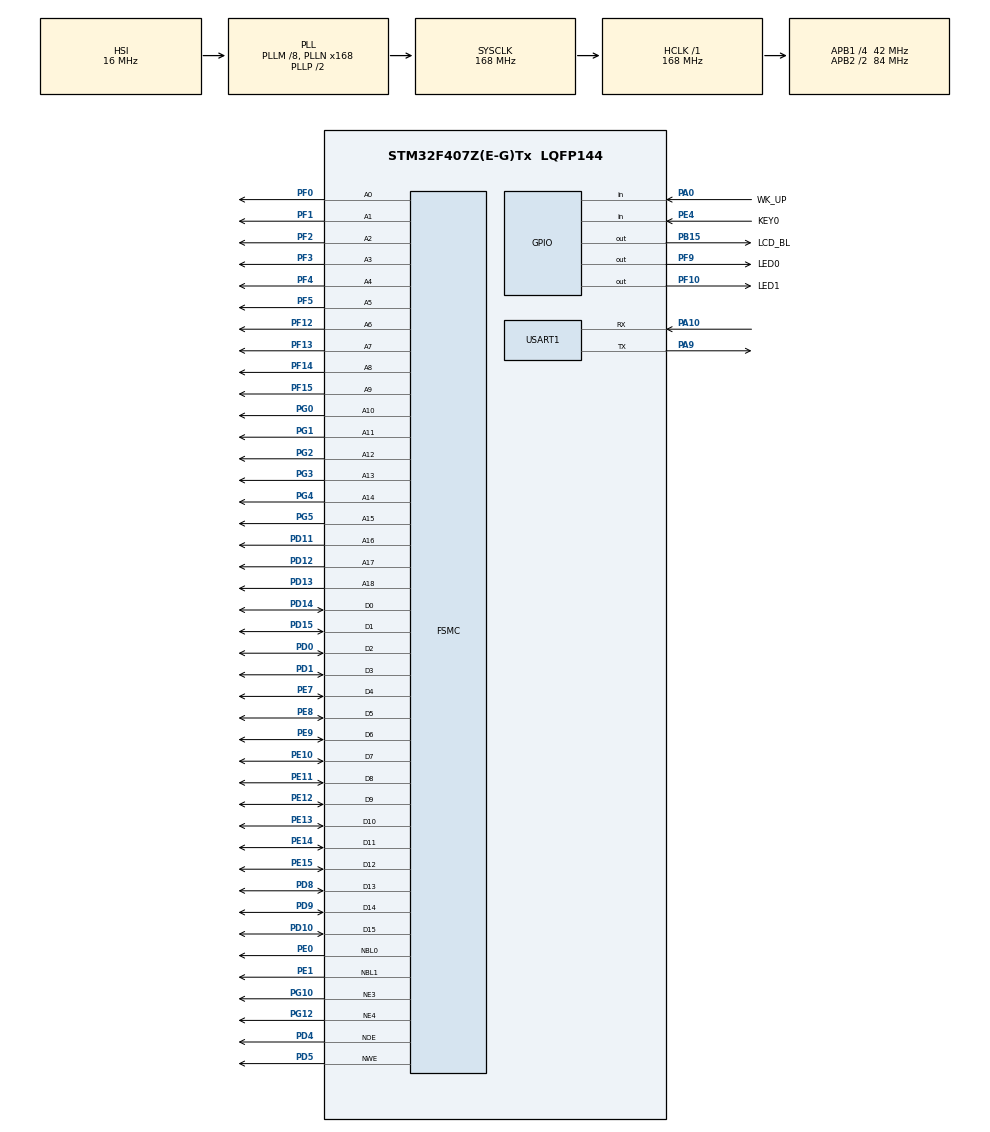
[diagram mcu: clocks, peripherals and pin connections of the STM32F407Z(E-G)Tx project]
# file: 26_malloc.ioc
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FSMC.AddressSetupTime1=15
FSMC.AddressSetupTime2=0x02
FSMC.BusTurnAroundDuration1=0
FSMC.DataSetupTime1=60
FSMC.DataSetupTime2=0x08
FSMC.ExtendedAddressSetupTime1=9
FSMC.ExtendedBusTurnAroundDuration1=0
FSMC.ExtendedDataSetupTime1=9
FSMC.ExtendedMode1=FSMC_EXTENDED_MODE_ENABLE
FSMC.WriteOperation2=FSMC_WRITE_OPERATION_ENABLE
Mcu.Family=STM32F4
Mcu.Name=STM32F407Z(E-G)Tx
Mcu.Package=LQFP144
NVIC.PriorityGroup=NVIC_PRIORITYGROUP_2
NVIC.USART1_IRQn=true\:2\:2\:true\:false\:true\:true\:true\:true
PA0-WKUP.GPIO_Label=WK_UP
PA0-WKUP.GPIO_PuPd=GPIO_PULLDOWN
PA0-WKUP.Signal=GPIO_Input
PA10.GPIO_PuPd=GPIO_PULLUP
PA10.Mode=Asynchronous
PA10.Signal=USART1_RX
PA13.Mode=Serial_Wire
PA13.Signal=SYS_JTMS-SWDIO
PA14.Mode=Serial_Wire
PA14.Signal=SYS_JTCK-SWCLK
PA9.GPIO_PuPd=GPIO_PULLUP
PA9.Mode=Asynchronous
PA9.Signal=USART1_TX
PB15.GPIO_Label=LCD_BL
PB15.GPIO_PuPd=GPIO_PULLUP
PB15.GPIO_Speed=GPIO_SPEED_FREQ_VERY_HIGH
PB15.PinState=GPIO_PIN_SET
PB15.Signal=GPIO_Output
PC14-OSC32_IN.Mode=LSE-External-Oscillator
PC14-OSC32_IN.Signal=RCC_OSC32_IN
PC15-OSC32_OUT.Mode=LSE-External-Oscillator
PC15-OSC32_OUT.Signal=RCC_OSC32_OUT
PD0.Signal=FSMC_D2_DA2
PD1.Signal=FSMC_D3_DA3
PD10.Signal=FSMC_D15_DA15
PD11.Signal=FSMC_A16_CLE
PD12.Signal=FSMC_A17_ALE
PD13.Signal=FSMC_A18
PD14.Signal=FSMC_D0_DA0
PD15.Signal=FSMC_D1_DA1
PD4.Signal=FSMC_NOE
PD5.Signal=FSMC_NWE
PD8.Signal=FSMC_D13_DA13
PD9.Signal=FSMC_D14_DA14
PE0.Signal=FSMC_NBL0
PE1.Signal=FSMC_NBL1
PE10.Signal=FSMC_D7_DA7
PE11.Signal=FSMC_D8_DA8
PE12.Signal=FSMC_D9_DA9
PE13.Signal=FSMC_D10_DA10
PE14.Signal=FSMC_D11_DA11
PE15.Signal=FSMC_D12_DA12
PE4.GPIO_Label=KEY0
PE4.GPIO_PuPd=GPIO_PULLDOWN
PE4.Signal=GPIO_Input
PE7.Signal=FSMC_D4_DA4
PE8.Signal=FSMC_D5_DA5
PE9.Signal=FSMC_D6_DA6
PF0.Signal=FSMC_A0
PF1.Signal=FSMC_A1
PF10.GPIO_Label=LED1
PF10.GPIO_PuPd=GPIO_PULLDOWN
PF10.GPIO_Speed=GPIO_SPEED_FREQ_VERY_HIGH
PF10.PinState=GPIO_PIN_SET
PF10.Signal=GPIO_Output
PF12.Signal=FSMC_A6
PF13.Signal=FSMC_A7
PF14.Signal=FSMC_A8
PF15.Signal=FSMC_A9
PF2.Signal=FSMC_A2
PF3.Signal=FSMC_A3
PF4.Signal=FSMC_A4
PF5.Signal=FSMC_A5
PF9.GPIO_Label=LED0
PF9.GPIO_PuPd=GPIO_PULLDOWN
PF9.GPIO_Speed=GPIO_SPEED_FREQ_VERY_HIGH
PF9.PinState=GPIO_PIN_SET
PF9.Signal=GPIO_Output
PG0.Signal=FSMC_A10
PG1.Signal=FSMC_A11
PG10.Mode=NorPsramChipSelect3_2
PG10.Signal=FSMC_NE3
PG12.Mode=NorPsramChipSelect4_1
PG12.Signal=FSMC_NE4
PG2.Signal=FSMC_A12
PG3.Signal=FSMC_A13
PG4.Signal=FSMC_A14
PG5.Signal=FSMC_A15
PH0-OSC_IN.Mode=HSE-External-Oscillator
PH0-OSC_IN.Signal=RCC_OSC_IN
PH1-OSC_OUT.Mode=HSE-External-Oscillator
PH1-OSC_OUT.Signal=RCC_OSC_OUT
ProjectManager.HeapSize=0x200
ProjectManager.StackSize=0x400
ProjectManager.TargetToolchain=STM32CubeIDE
RCC.48MHZClocksFreq_Value=84000000
RCC.AHBFreq_Value=168000000
RCC.APB1CLKDivider=RCC_HCLK_DIV4
RCC.APB1Freq_Value=42000000
RCC.APB1TimFreq_Value=84000000
RCC.APB2CLKDivider=RCC_HCLK_DIV2
RCC.APB2Freq_Value=84000000
RCC.APB2TimFreq_Value=168000000
RCC.CortexFreq_Value=168000000
RCC.HCLKFreq_Value=168000000
RCC.HSE_VALUE=25000000
RCC.HSI_VALUE=16000000
RCC.PLLM=8
RCC.PLLN=168
RCC.SYSCLKFreq_VALUE=168000000
RCC.SYSCLKSource=RCC_SYSCLKSOURCE_PLLCLK
RCC.VCOOutputFreq_Value=336000000
SH.FSMC_A0.0=FSMC_A0,19b-a2
SH.FSMC_A1.0=FSMC_A1,19b-a2
SH.FSMC_A10.0=FSMC_A10,19b-a2
SH.FSMC_A11.0=FSMC_A11,19b-a2
SH.FSMC_A12.0=FSMC_A12,19b-a2
SH.FSMC_A13.0=FSMC_A13,19b-a2
SH.FSMC_A14.0=FSMC_A14,19b-a2
SH.FSMC_A15.0=FSMC_A15,19b-a2
SH.FSMC_A16_CLE.0=FSMC_A16,19b-a2
SH.FSMC_A17_ALE.0=FSMC_A17,19b-a2
SH.FSMC_A18.0=FSMC_A18,19b-a2
SH.FSMC_A2.0=FSMC_A2,19b-a2
SH.FSMC_A3.0=FSMC_A3,19b-a2
SH.FSMC_A4.0=FSMC_A4,19b-a2
SH.FSMC_A5.0=FSMC_A5,19b-a2
SH.FSMC_A6.0=FSMC_A6,A6_1
SH.FSMC_A6.1=FSMC_A6,19b-a2
SH.FSMC_A7.0=FSMC_A7,19b-a2
SH.FSMC_A8.0=FSMC_A8,19b-a2
SH.FSMC_A9.0=FSMC_A9,19b-a2
SH.FSMC_D0_DA0.0=FSMC_D0,16b-d1
SH.FSMC_D0_DA0.1=FSMC_D0,16b-d2
SH.FSMC_D10_DA10.0=FSMC_D10,16b-d1
SH.FSMC_D10_DA10.1=FSMC_D10,16b-d2
SH.FSMC_D11_DA11.0=FSMC_D11,16b-d1
SH.FSMC_D11_DA11.1=FSMC_D11,16b-d2
SH.FSMC_D12_DA12.0=FSMC_D12,16b-d1
SH.FSMC_D12_DA12.1=FSMC_D12,16b-d2
SH.FSMC_D13_DA13.0=FSMC_D13,16b-d1
SH.FSMC_D13_DA13.1=FSMC_D13,16b-d2
SH.FSMC_D14_DA14.0=FSMC_D14,16b-d1
SH.FSMC_D14_DA14.1=FSMC_D14,16b-d2
SH.FSMC_D15_DA15.0=FSMC_D15,16b-d1
SH.FSMC_D15_DA15.1=FSMC_D15,16b-d2
SH.FSMC_D1_DA1.0=FSMC_D1,16b-d1
SH.FSMC_D1_DA1.1=FSMC_D1,16b-d2
SH.FSMC_D2_DA2.0=FSMC_D2,16b-d1
SH.FSMC_D2_DA2.1=FSMC_D2,16b-d2
SH.FSMC_D3_DA3.0=FSMC_D3,16b-d1
SH.FSMC_D3_DA3.1=FSMC_D3,16b-d2
SH.FSMC_D4_DA4.0=FSMC_D4,16b-d1
SH.FSMC_D4_DA4.1=FSMC_D4,16b-d2
SH.FSMC_D5_DA5.0=FSMC_D5,16b-d1
SH.FSMC_D5_DA5.1=FSMC_D5,16b-d2
SH.FSMC_D6_DA6.0=FSMC_D6,16b-d1
SH.FSMC_D6_DA6.1=FSMC_D6,16b-d2
SH.FSMC_D7_DA7.0=FSMC_D7,16b-d1
SH.FSMC_D7_DA7.1=FSMC_D7,16b-d2
SH.FSMC_D8_DA8.0=FSMC_D8,16b-d1
SH.FSMC_D8_DA8.1=FSMC_D8,16b-d2
SH.FSMC_D9_DA9.0=FSMC_D9,16b-d1
SH.FSMC_D9_DA9.1=FSMC_D9,16b-d2
SH.FSMC_NBL0.0=FSMC_NBL0,2ByteEnable2
SH.FSMC_NBL1.0=FSMC_NBL1,2ByteEnable2
SH.FSMC_NOE.0=FSMC_NOE,Lcd1
SH.FSMC_NOE.1=FSMC_NOE,Sram2
SH.FSMC_NWE.0=FSMC_NWE,Lcd1
SH.FSMC_NWE.1=FSMC_NWE,Sram2
USART1.VirtualMode=VM_ASYNC
board=custom

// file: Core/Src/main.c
/* USER CODE BEGIN Header */
/**
 ****************************************************************************************************
 * @file        main.c
 * @author      ALIENTEK
 * @brief       MALLOC code
 * @license     Copyright (C) 2020-2032, ALIENTEK
 ****************************************************************************************************
 * @attention
 *
 * platform     : ALIENTEK M144-STM32F407 board
 * website      : https://www.alientek.com
 * forum        : http://www.openedv.com/forum.php
 *
 * change logs  :
 * version    data    notes
 * V1.0     20240410  the first version
 *
 ****************************************************************************************************
 */
/* USER CODE END Header */
#include "main.h"
#include "usart.h"
#include "gpio.h"
#include "fsmc.h"

/* USER CODE BEGIN Includes */
#include "../../BSP/LED/led.h"
#include "../../BSP/KEY/key.h"
#include "../../BSP/LCD/lcd.h"
#include "../../SYSTEM/delay/delay.h"
#include "../../ATK_Middlewares/MALLOC/malloc.h"
/* USER CODE END Includes */

void SystemClock_Config(void);

int main(void)
{
  /* USER CODE BEGIN 1 */
    uint8_t t = 0;
    uint8_t key;
    uint8_t *p_sramin = NULL;
    uint8_t *p_sramccm = NULL;
    uint8_t *p_sramex = NULL;
    uint32_t tp_sramin = 0;
    uint32_t tp_sramccm = 0;
    uint32_t tp_sramex = 0;
    uint8_t paddr[32];
    uint16_t memused;
  /* USER CODE END 1 */

  /* MCU Configuration--------------------------------------------------------*/

  /* Reset of all peripherals, Initializes the Flash interface and the Systick. */
  HAL_Init();

  /* Configure the system clock */
  SystemClock_Config();

  /* USER CODE BEGIN SysInit */
  delay_init(168);
  /* USER CODE END SysInit */

  /* Initialize all configured peripherals */
  MX_GPIO_Init();
  MX_USART1_UART_Init();
  MX_FSMC_Init();
  /* USER CODE BEGIN 2 */

  lcd_init();
  my_mem_init(SRAMIN);                /* Initialize the internal SRAM memory pool */
  my_mem_init(SRAMCCM);               /* Initialize the CCM memory pool */
  my_mem_init(SRAMEX);                /* Initialize the external SRAM memory pool */

  lcd_show_string(30, 50, 200, 16, 16, "STM32", RED);
  lcd_show_string(30, 70, 200, 16, 16, "MALLOC TEST", RED);
  lcd_show_string(30, 90, 200, 16, 16, "ATOM@ALIENTEK", RED);

  lcd_show_string(30, 110, 200, 16, 16, "KEY0:Malloc & WR & Show", RED);
  lcd_show_string(30, 130, 200, 16, 16, "KEY_UP:Free", RED);

  lcd_show_string(30, 162, 200, 16, 16, "SRAMIN USED:", BLUE);
  lcd_show_string(30, 178, 200, 16, 16, "SRAMCCM USED:", BLUE);
  lcd_show_string(30, 194, 200, 16, 16, "SRAMEX USED:", BLUE);

  /* USER CODE END 2 */

  /* Infinite loop */
  while (1)
  {

      key = key_scan(0);
      if (key == WKUP_PRES)
      {
          /* Apply for memory */
          p_sramin = mymalloc(SRAMIN, 2048);
          p_sramccm = mymalloc(SRAMCCM, 2048);
          p_sramex = mymalloc(SRAMEX, 2048);

          /* Check whether memory application is successful */
          if ((p_sramin != NULL) && (p_sramccm != NULL) && (p_sramex != NULL))
          {
              /* Uses the allocated memory */
              sprintf((char *)p_sramin, "SRAMIN: Malloc Test%03d", t + SRAMIN);
              lcd_show_string(30, 258, 239, 16, 16, (char *)p_sramin, BLUE);
              sprintf((char *)p_sramccm, "SRAMCCM: Malloc Test%03d", t + SRAMCCM);
              lcd_show_string(30, 274, 239, 16, 16, (char *)p_sramccm, BLUE);
              sprintf((char *)p_sramex, "SRAMEX: Malloc Test%03d", t + SRAMEX);
              lcd_show_string(30, 290, 239, 16, 16, (char *)p_sramex, BLUE);
          }
          else
          {
              myfree(SRAMIN, p_sramin);
              myfree(SRAMCCM, p_sramccm);
              myfree(SRAMEX, p_sramex);
              p_sramin = NULL;
              p_sramccm = NULL;
              p_sramex = NULL;
          }
      }
      else if (key == KEY0_PRES)
      {
          /* Release memory */
          myfree(SRAMIN, p_sramin);
          myfree(SRAMCCM, p_sramccm);
          myfree(SRAMEX, p_sramex);
          p_sramin = NULL;
          p_sramccm = NULL;
          p_sramex = NULL;
      }

      /* Displays the first address applied to memory */
      if ((tp_sramin != (uint32_t)p_sramin) || (tp_sramccm != (uint32_t)p_sramccm) || (tp_sramex != (uint32_t)p_sramex))
      {
          tp_sramin = (uint32_t)p_sramin;
          tp_sramccm = (uint32_t)p_sramccm;
          tp_sramex = (uint32_t)p_sramex;

          sprintf((char *)paddr, "SRAMIN: Addr: 0x%08X", (uint32_t)p_sramin);
          lcd_show_string(30, 210, 239, 16, 16, (char *)paddr, BLUE);
          sprintf((char *)paddr, "SRAMCCN: Addr: 0x%08X", (uint32_t)p_sramccm);
          lcd_show_string(30, 226, 239, 16, 16, (char *)paddr, BLUE);
          sprintf((char *)paddr, "SRAMEX: Addr: 0x%08X", (uint32_t)p_sramex);
          lcd_show_string(30, 242, 239, 16, 16, (char *)paddr, BLUE);
      }
      else if ((p_sramin == NULL) || (p_sramccm == NULL) || (p_sramex == NULL))
      {
          lcd_fill(30, 210, 239, 319, WHITE);
      }

      if (++t == 20)
      {
          t = 0;

          /* Displays internal SRAM usage */
          memused = my_mem_perused(SRAMIN);
          sprintf((char *)paddr, "%d.%01d%%", memused / 10, memused % 10);
          lcd_show_string(30 + 96, 162, 200, 16, 16, (char *)paddr, BLUE);

          /* Displays CCM usage */
          memused = my_mem_perused(SRAMCCM);
          sprintf((char *)paddr, "%d.%01d%%", memused / 10, memused % 10);
          lcd_show_string(30 + 104, 178, 200, 16, 16, (char *)paddr, BLUE);

          /* Displays external SRAM usage */
          memused = my_mem_perused(SRAMEX);
          sprintf((char *)paddr, "%d.%01d%%", memused / 10, memused % 10);
          lcd_show_string(30 + 96, 194, 200, 16, 16, (char *)paddr, BLUE);

          LED0_TOGGLE();
      }

      HAL_Delay(10);

  }
}

void SystemClock_Config(void)
{
  RCC_OscInitTypeDef RCC_OscInitStruct = {0};
  RCC_ClkInitTypeDef RCC_ClkInitStruct = {0};

  /** Configure the main internal regulator output voltage
  */
  __HAL_RCC_PWR_CLK_ENABLE();
  __HAL_PWR_VOLTAGESCALING_CONFIG(PWR_REGULATOR_VOLTAGE_SCALE1);

  /** Initializes the RCC Oscillators according to the specified parameters
  * in the RCC_OscInitTypeDef structure.
  */
  RCC_OscInitStruct.OscillatorType = RCC_OSCILLATORTYPE_HSI;
  RCC_OscInitStruct.HSIState = RCC_HSI_ON;
  RCC_OscInitStruct.HSICalibrationValue = RCC_HSICALIBRATION_DEFAULT;
  RCC_OscInitStruct.PLL.PLLState = RCC_PLL_ON;
  RCC_OscInitStruct.PLL.PLLSource = RCC_PLLSOURCE_HSI;
  RCC_OscInitStruct.PLL.PLLM = 8;
  RCC_OscInitStruct.PLL.PLLN = 168;
  RCC_OscInitStruct.PLL.PLLP = RCC_PLLP_DIV2;
  RCC_OscInitStruct.PLL.PLLQ = 4;
  if (HAL_RCC_OscConfig(&RCC_OscInitStruct) != HAL_OK)
  {
    Error_Handler();
  }

  /** Initializes the CPU, AHB and APB buses clocks
  */
  RCC_ClkInitStruct.ClockType = RCC_CLOCKTYPE_HCLK|RCC_CLOCKTYPE_SYSCLK
                              |RCC_CLOCKTYPE_PCLK1|RCC_CLOCKTYPE_PCLK2;
  RCC_ClkInitStruct.SYSCLKSource = RCC_SYSCLKSOURCE_PLLCLK;
  RCC_ClkInitStruct.AHBCLKDivider = RCC_SYSCLK_DIV1;
  RCC_ClkInitStruct.APB1CLKDivider = RCC_HCLK_DIV4;
  RCC_ClkInitStruct.APB2CLKDivider = RCC_HCLK_DIV2;

  if (HAL_RCC_ClockConfig(&RCC_ClkInitStruct, FLASH_LATENCY_5) != HAL_OK)
  {
    Error_Handler();
  }
}

void Error_Handler(void)
{
  __disable_irq();
  while (1)
  {
  }
}
